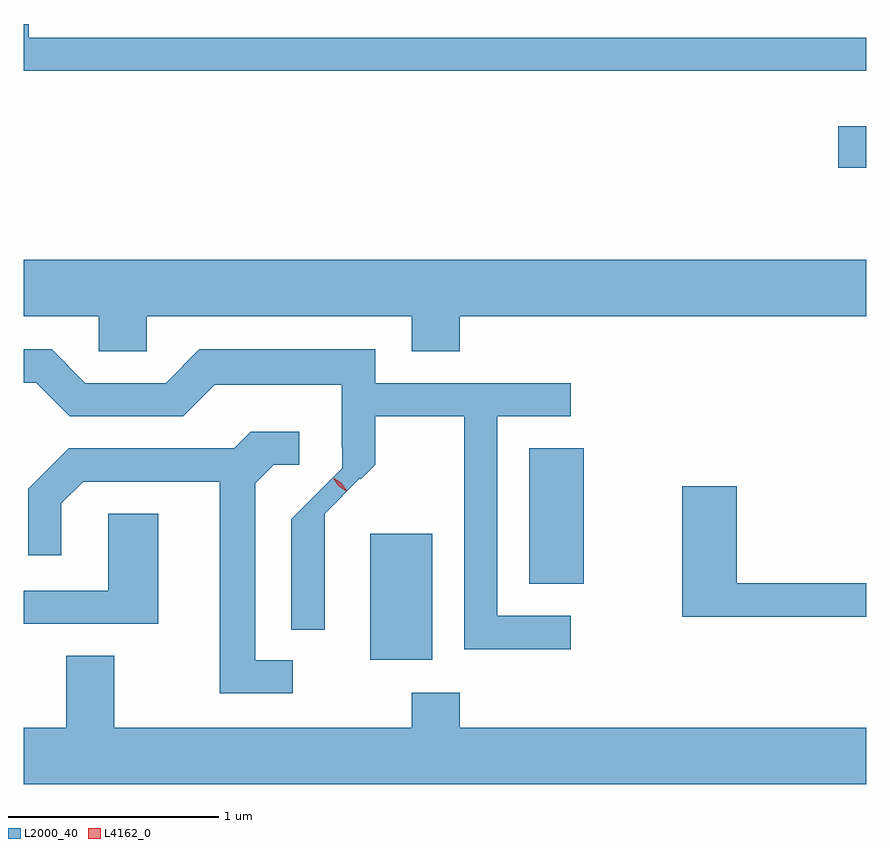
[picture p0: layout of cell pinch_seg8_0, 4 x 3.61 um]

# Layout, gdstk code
import gdstk
lib = gdstk.Library(unit=1e-6, precision=1e-09)
def R(c, l, rs):  # rectangles x0, y0, x1, y1
    for r in rs: c.add(gdstk.rectangle(r[:2], r[2:], *l))
def P(c, l, *ps):  # polygons
    for p in ps: c.add(gdstk.Polygon(p, *l))
L2000_40 = (2000, 40)
L4162_0 = (4162, 0)

pinch_seg8_0 = lib.new_cell('pinch_seg8_0')
R(pinch_seg8_0, L2000_40, [(1807.006,1837.006,1807.299,1837.604), (1807.761,1837.366,1808.019,1838.009), (1809.226,1839.341,1809.36,1839.539)])
P(pinch_seg8_0, L2000_40, [(1809.36,1839.959),(1805.384,1839.959),(1805.384,1840.024),(1805.36,1840.024),(1805.36,1839.801),(1809.36,1839.801)],
  [(1805.944,1838.636),(1807.201,1838.636),(1807.201,1838.471),(1807.429,1838.471),(1807.429,1838.636),(1809.36,1838.636),(1809.36,1838.904),(1805.36,1838.904),(1805.36,1838.636),(1805.716,1838.636),(1805.716,1838.471),(1805.944,1838.471)],
  [(1807.958,1837.214),(1807.609,1837.214),(1807.609,1838.161),(1807.958,1838.161),(1807.958,1838.319),(1807.029,1838.319),(1807.029,1838.479),(1806.194,1838.479),(1806.034,1838.319),(1805.652,1838.319),(1805.492,1838.479),(1805.36,1838.479),(1805.36,1838.321),(1805.419,1838.321),(1805.579,1838.161),(1806.117,1838.161),(1806.267,1838.311),(1806.871,1838.311),(1806.871,1838.015),(1806.873,1838.015),(1806.873,1837.916),(1806.631,1837.674),(1806.631,1837.148),(1806.789,1837.148),(1806.789,1837.7),(1806.956,1837.867),(1806.961,1837.863),(1807.029,1837.931),(1807.029,1838.161),(1807.451,1838.161),(1807.451,1837.056),(1807.958,1837.056)],
  [(1806.638,1837.004),(1806.459,1837.004),(1806.459,1837.844),(1806.547,1837.931),(1806.668,1837.931),(1806.668,1838.089),(1806.439,1838.089),(1806.359,1838.009),(1805.574,1838.009),(1805.381,1837.817),(1805.381,1837.503),(1805.539,1837.503),(1805.539,1837.749),(1805.642,1837.851),(1806.291,1837.851),(1806.291,1836.846),(1806.638,1836.846)],
  [(1809.36,1837.369),(1808.744,1837.369),(1808.744,1837.829),(1808.486,1837.829),(1808.486,1837.211),(1809.36,1837.211)],
  [(1805.999,1837.699),(1805.761,1837.699),(1805.761,1837.334),(1805.36,1837.334),(1805.36,1837.176),(1805.999,1837.176)],
  [(1809.36,1836.684),(1807.429,1836.684),(1807.429,1836.849),(1807.201,1836.849),(1807.201,1836.684),(1805.789,1836.684),(1805.789,1837.024),(1805.561,1837.024),(1805.561,1836.684),(1805.36,1836.684),(1805.36,1836.416),(1809.36,1836.416)])
P(pinch_seg8_0, L4162_0, [(1806.892,1837.806),(1806.854,1837.832),(1806.829,1837.871),(1806.829,1837.871),(1806.83,1837.871),(1806.868,1837.846),(1806.893,1837.807),(1806.893,1837.806)],
  [(1806.889,1837.811),(1806.854,1837.832),(1806.832,1837.866),(1806.832,1837.866),(1806.833,1837.866),(1806.868,1837.846),(1806.89,1837.812),(1806.89,1837.811)])

lib.write_gds('pinch_seg8_0.gds')
